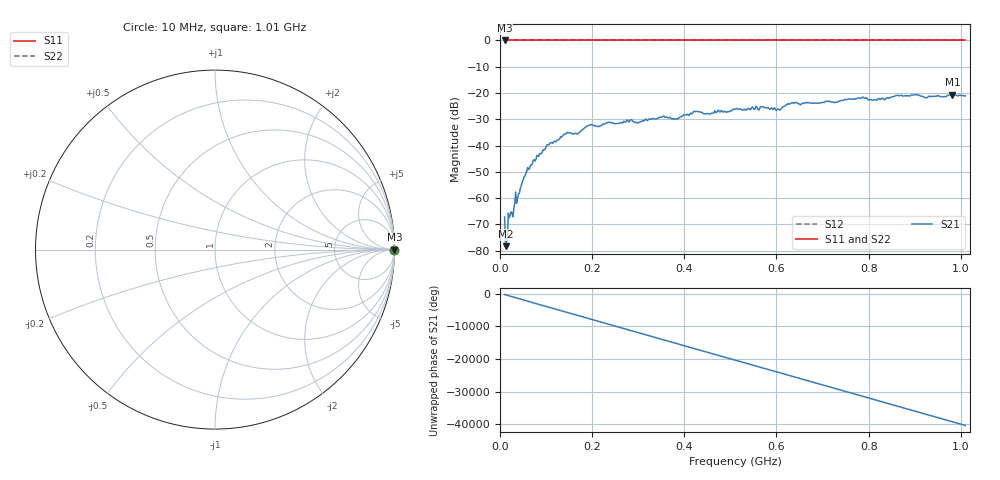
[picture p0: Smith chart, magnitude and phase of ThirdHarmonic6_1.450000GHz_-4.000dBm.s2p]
! 8/16/2025 4:48:18 PM
! C:\ANRITSUVNA\TEMP\TEMP.S2P
! CHANNEL.1
! TR.MEASUREMENT
! RAW.DATA
! RF.CORRECTION.OFF
! AVERAGING.OFF
! IF.BANDWIDTH: 5KHZ
! SWEEPTYPE:  FREQ.SWEEP(Linear)
! Reference Plane Port Info
! PORT:  PORT1  PORT2
! DISTANCE:  0  m  0  m
! TIME:  0  s  0  s
! PHASE.OFFSET:  0  deg.  0  deg.
! LOSS:  0  dB  0  dB
! REF.LOSS:  0  dB  0  dB
! REF.FREQ:  0  Hz  0  Hz
! Power Info
! POWER:  -20  dBm  -20  dBm
! EFF.POWER:  -20  dBm  -20  dBm
! SOURCE.ATTEN:  0  dB  0  dB
! TEST.ATTEN:  0  dB  0  dB
# GHZ S RI R 50.0
! FREQ.GHZ  S11RE  S11IM  S21RE  S21IM  S12RE  S12IM  S22RE  S22IM
!; PortSelection: Port_12
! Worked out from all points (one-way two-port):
!   501 points, 10 MHz to 1.01 GHz, reference 50 ohm
!   highest |S21| = -20.63 dB at 982 MHz (marker M1); lowest = -78.3 dB at 12 MHz (marker M2)
!   lowest |S11| = 0.0 dB at 10 MHz (marker M3)
!   |S11| at or under -10 dB: nowhere
!   |S22| runs from 0.0 to 0.0 dB; largest |S21 - S12| = 1.1
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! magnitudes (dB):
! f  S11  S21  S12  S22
! 10 MHz  0.0  -67.2  0.0  0.0
! 12 MHz  0.0  -78.3  0.0  0.0
! 16 MHz  0.0  -76.0  0.0  0.0
! 22 MHz  0.0  -66.4  0.0  0.0
! 28 MHz  0.0  -67.2  0.0  0.0
! 56 MHz  0.0  -50.7  0.0  0.0
! 76 MHz  0.0  -45.9  0.0  0.0
! 106 MHz  0.0  -39.7  0.0  0.0
! 142 MHz  0.0  -35.6  0.0  0.0
! 178 MHz  0.0  -34.2  0.0  0.0
! 196 MHz  0.0  -32.1  0.0  0.0
! 344 MHz  0.0  -29.6  0.0  0.0
! 382 MHz  0.0  -29.9  0.0  0.0
! 424 MHz  0.0  -27.1  0.0  0.0
! 454 MHz  0.0  -28.0  0.0  0.0
! 510 MHz  0.0  -26.2  0.0  0.0
! 604 MHz  0.0  -26.1  0.0  0.0
! 632 MHz  0.0  -23.9  0.0  0.0
! 678 MHz  0.0  -23.9  0.0  0.0
! 844 MHz  0.0  -22.0  0.0  0.0
! 982 MHz  0.0  -20.6  0.0  0.0
! 1.01 GHz  0.0  -21.1  0.0  0.0
